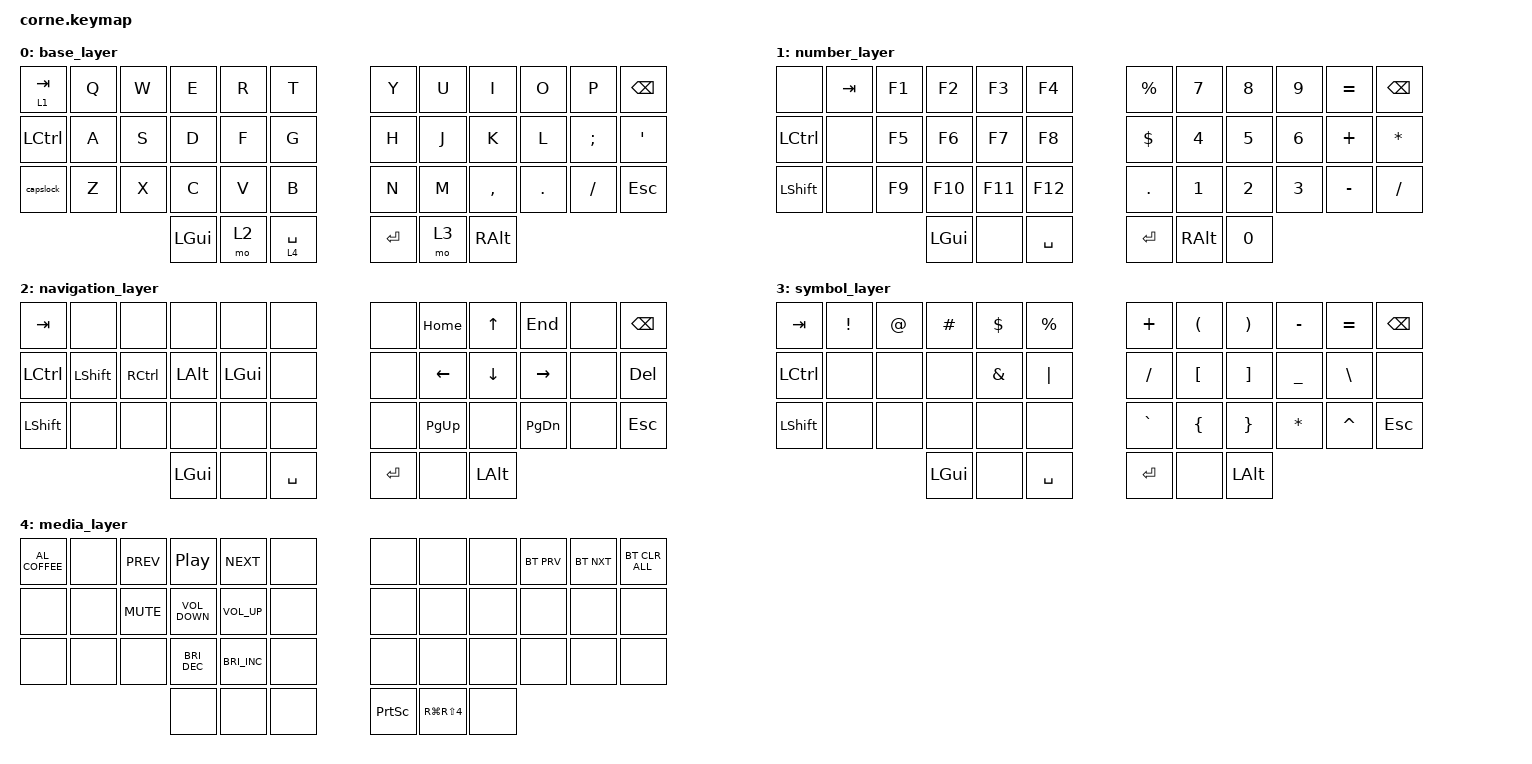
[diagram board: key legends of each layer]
/*
 * Copyright (c) 2020 The ZMK Contributors
 *
 * SPDX-License-Identifier: MIT
 */

#include <behaviors.dtsi>
#include <dt-bindings/zmk/bt.h>
#include <dt-bindings/zmk/keys.h>

/ {
    combos {
        compatible = "zmk,combos";

        command_kollapse {
            bindings = <&kollapse>;
            key-positions = <20 35>;
        };

        combo_redo {
            bindings = <&redo>;
            key-positions = <35 25>;
        };
    };

    behaviors {
        capslock: capslock {
            compatible = "zmk,behavior-tap-dance";
            label = "CAPSLOCK";
            #binding-cells = <0>;
            bindings = <&kp LEFT_SHIFT>, <&caps_word>;
        };

        media: media {
            compatible = "zmk,behavior-hold-tap";
            label = "MEDIA";
            bindings = <&mo>, <&kp>;

            #binding-cells = <2>;
            tapping-term-ms = <200>;
        };

        number_layer: number_layer {
            compatible = "zmk,behavior-hold-tap";
            label = "NUMBER_LAYER";
            bindings = <&mo>, <&kp>;

            #binding-cells = <2>;
            tapping-term-ms = <200>;
        };

        kollapse: kollapse {
            compatible = "zmk,behavior-caps-word";
            label = "KOLLAPSE";
            #binding-cells = <0>;
            continue-list = <LEFT_GUI K LGUI NUMBER_0>;
        };

        redo: redo {
            compatible = "zmk,behavior-caps-word";
            label = "REDO";
            #binding-cells = <0>;
            continue-list = <LEFT_GUI LEFT_SHIFT Z>;
        };
    };

    keymap {
        compatible = "zmk,keymap";

        base_layer {
            // -----------------------------------------------------------------------------------------
            // |  TAB |  Q  |  W  |  E  |  R  |  T  |   |  Y  |  U   |  I  |  O  |  P  | BKSP |
            // | CTRL |  A  |  S  |  D  |  F  |  G  |   |  H  |  J   |  K  |  L  |  ;  |  '   |
            // | SHFT |  Z  |  X  |  C  |  V  |  B  |   |  N  |  M   |  ,  |  .  |  /  | ESC  |
            //                    | GUI | LWR | SPC |   | ENT | RSE  | ALT |

            bindings = <
&number_layer 1 TAB  &kp Q  &kp W  &kp E     &kp R  &kp T             &kp Y      &kp U  &kp I      &kp O    &kp P     &kp BSPC
&kp LCTRL            &kp A  &kp S  &kp D     &kp F  &kp G             &kp H      &kp J  &kp K      &kp L    &kp SEMI  &kp SQT
&capslock            &kp Z  &kp X  &kp C     &kp V  &kp B             &kp N      &kp M  &kp COMMA  &kp DOT  &kp FSLH  &kp ESC
                                   &kp LGUI  &mo 2  &media 4 SPACE    &kp ENTER  &mo 3  &kp RALT
            >;
        };

        number_layer {
            bindings = <
&none             &kp TAB  &kp F1  &kp F2        &kp F3   &kp F4       &kp PERCENT  &kp N7         &kp N8        &kp N9        &kp EQUAL  &kp BSPC
&kp LEFT_CONTROL  &none    &kp F5  &kp F6        &kp F7   &kp F8       &kp DOLLAR   &kp NUMBER_4   &kp N5        &kp NUMBER_6  &kp PLUS   &kp ASTRK
&kp LEFT_SHIFT    &none    &kp F9  &kp F10       &kp F11  &kp F12      &kp DOT      &kp N1         &kp N2        &kp N3        &kp MINUS  &kp SLASH
                                   &kp LEFT_GUI  &none    &kp SPACE    &kp ENTER    &kp RIGHT_ALT  &kp NUMBER_0
            >;
        };

        navigation_layer {
            bindings = <
&kp TAB    &none           &none      &none         &none         &none        &none      &kp HOME   &kp UP    &kp END    &none  &kp BSPC
&kp LCTRL  &kp LEFT_SHIFT  &kp RCTRL  &kp LEFT_ALT  &kp LEFT_GUI  &none        &none      &kp LEFT   &kp DOWN  &kp RIGHT  &none  &kp DELETE
&kp LSHFT  &none           &none      &none         &none         &none        &none      &kp PG_UP  &none     &kp PG_DN  &none  &kp ESC
                                      &kp LGUI      &none         &kp SPACE    &kp ENTER  &none      &kp LALT
            >;
        };

        symbol_layer {
            bindings = <
&kp TAB    &kp EXCLAMATION  &kp AT_SIGN  &kp HASH      &kp DOLLAR     &kp PERCENT    &kp PLUS   &kp LEFT_PARENTHESIS  &kp RIGHT_PARENTHESIS  &kp MINUS       &kp EQUAL      &kp BACKSPACE
&kp LCTRL  &none            &none        &none         &kp AMPERSAND  &kp PIPE       &kp SLASH  &kp LEFT_BRACKET      &kp RIGHT_BRACKET      &kp UNDERSCORE  &kp BACKSLASH  &none
&kp LSHFT  &none            &none        &none         &none          &none          &kp GRAVE  &kp LEFT_BRACE        &kp RIGHT_BRACE        &kp ASTERISK    &kp CARET      &kp ESCAPE
                                         &kp LEFT_GUI  &none          &kp SPACE      &kp RET    &none                 &kp LEFT_ALT
            >;
        };

        media_layer {
            bindings = <
&kp C_AL_COFFEE  &none  &kp C_PREV  &kp C_PLAY_PAUSE      &kp C_NEXT            &none    &none      &none                 &none  &bt BT_PRV  &bt BT_NXT  &bt BT_CLR_ALL
&none            &none  &kp C_MUTE  &kp C_VOLUME_DOWN     &kp C_VOL_UP          &none    &none      &none                 &none  &none       &none       &none
&none            &none  &none       &kp C_BRIGHTNESS_DEC  &kp C_BRIGHTNESS_INC  &none    &none      &none                 &none  &none       &none       &none
                                    &none                 &none                 &none    &kp PSCRN  &kp RG(RS(NUMBER_4))  &none
            >;
        };
    };
};
